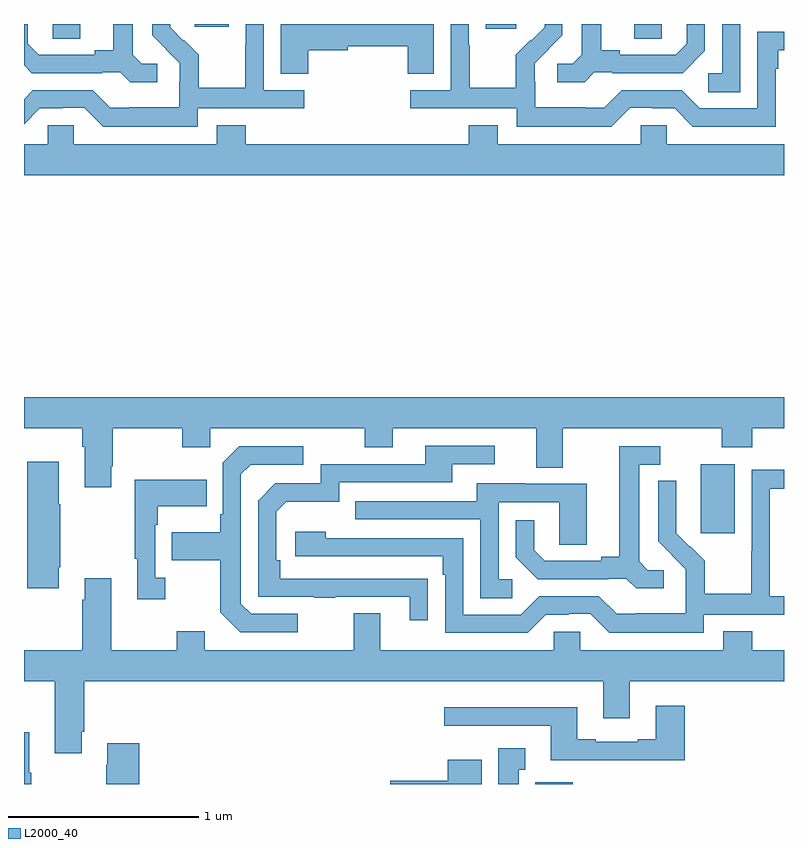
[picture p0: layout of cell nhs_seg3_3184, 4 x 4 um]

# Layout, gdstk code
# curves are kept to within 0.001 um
import gdstk
lib = gdstk.Library(unit=1e-6, precision=1e-09)
def R(c, l, rs):  # rectangles x0, y0, x1, y1
    for r in rs: c.add(gdstk.rectangle(r[:2], r[2:], *l))
def P(c, l, *ps):  # polygons
    for p in ps: c.add(gdstk.Polygon(p, *l))
L2000_40 = (2000, 40)

nhs_seg3_3184 = lib.new_cell('nhs_seg3_3184')
R(nhs_seg3_3184, L2000_40, [(279.692,676.4,279.889,676.408), (280.562,677.721,280.741,678.082), (277.152,680.323,277.297,680.4), (280.211,680.323,280.356,680.4), (279.431,680.376,279.592,680.4), (277.898,680.385,278.077,680.4)])
P(nhs_seg3_3184, L2000_40, [(277.914,679.956),(278.476,679.956),(278.476,680.052),(278.262,680.052),(278.262,680.4),(278.166,680.4),(278.166,680.288),(278.164,680.288),(278.164,680.065),(277.919,680.065),(277.919,680.239),(277.842,680.316),(277.839,680.313),(277.769,680.384),(277.769,680.4),(277.674,680.4),(277.674,680.342),(277.82,680.194),(277.82,680.097),(277.818,680.097),(277.818,679.963),(277.555,679.963),(277.555,679.959),(277.455,679.959),(277.362,680.052),(277.047,680.052),(277,680.005),(277,679.873),(277.083,679.956),(277.202,679.956),(277.202,679.959),(277.317,679.959),(277.417,679.859),(277.914,679.859)],
  [(280.002,680.145),(280.096,680.145),(280.096,680.142),(280.468,680.142),(280.584,680.258),(280.584,680.4),(280.487,680.4),(280.487,680.295),(280.43,680.238),(280.135,680.238),(280.135,680.261),(280.039,680.261),(280.039,680.4),(279.935,680.4),(279.935,680.237),(279.888,680.19),(279.807,680.19),(279.807,680.093),(279.95,680.093)],
  [(280.191,679.959),(280.307,679.959),(280.307,679.956),(280.425,679.956),(280.521,679.86),(280.956,679.86),(280.956,680.165),(280.969,680.165),(280.969,680.262),(281,680.262),(281,680.358),(280.86,680.358),(280.86,679.956),(280.557,679.956),(280.461,680.052),(280.146,680.052),(280.053,679.959),(279.953,679.959),(279.953,679.963),(279.69,679.963),(279.69,680.097),(279.688,680.097),(279.688,680.194),(279.834,680.342),(279.834,680.4),(279.74,680.4),(279.74,680.384),(279.669,680.313),(279.666,680.316),(279.589,680.239),(279.589,680.065),(279.345,680.065),(279.345,680.288),(279.342,680.288),(279.342,680.4),(279.246,680.4),(279.246,680.052),(279.033,680.052),(279.033,679.956),(279.594,679.956),(279.594,679.859),(280.091,679.859)],
  [(277.702,680.19),(277.62,680.19),(277.573,680.237),(277.573,680.4),(277.469,680.4),(277.469,680.261),(277.373,680.261),(277.373,680.238),(277.078,680.238),(277.021,680.295),(277.021,680.4),(277,680.4),(277,680.182),(277.04,680.142),(277.412,680.142),(277.412,680.145),(277.506,680.145),(277.558,680.093),(277.702,680.093)],
  [(280.77,680.4),(280.674,680.4),(280.674,680.142),(280.602,680.142),(280.602,680.041),(280.77,680.041)],
  [(278.495,680.261),(278.704,680.261),(278.704,680.284),(279.019,680.284),(279.019,680.137),(279.157,680.137),(279.157,680.4),(278.351,680.4),(278.351,680.137),(278.495,680.137)],
  [(281,679.768),(280.383,679.768),(280.383,679.866),(280.245,679.866),(280.245,679.768),(279.493,679.768),(279.493,679.867),(279.341,679.867),(279.341,679.768),(278.168,679.768),(278.168,679.867),(278.015,679.867),(278.015,679.768),(277.263,679.768),(277.263,679.866),(277.125,679.866),(277.125,679.768),(277,679.768),(277,679.604),(281,679.604)],
  [(277.459,678.073),(277.467,678.073),(277.467,678.272),(277.834,678.272),(277.834,678.173),(277.98,678.173),(277.98,678.272),(278.794,678.272),(278.794,678.173),(278.941,678.173),(278.941,678.272),(279.695,678.272),(279.695,678.064),(279.835,678.064),(279.835,678.272),(280.672,678.272),(280.672,678.173),(280.832,678.173),(280.832,678.272),(281,678.272),(281,678.436),(277,678.436),(277,678.272),(277.307,678.272),(277.307,678.176),(277.319,678.176),(277.319,677.961),(277.459,677.961)],
  [(279.125,677.48),(278.348,677.481),(278.348,677.578),(278.328,677.578),(278.328,677.832),(278.381,677.885),(278.658,677.885),(278.658,677.988),(279.253,677.988),(279.253,678.084),(279.478,678.084),(279.478,678.18),(279.113,678.18),(279.113,678.084),(278.562,678.084),(278.562,677.982),(278.322,677.982),(278.232,677.892),(278.232,677.385),(278.527,677.385),(278.527,677.38),(278.639,677.38),(278.639,677.385),(279.029,677.385),(279.029,677.262),(279.125,677.262)],
  [(280.366,677.526),(280.284,677.526),(280.237,677.573),(280.237,678.081),(280.348,678.081),(280.348,678.177),(280.133,678.177),(280.133,677.597),(280.037,677.597),(280.037,677.574),(279.742,677.574),(279.685,677.631),(279.685,677.788),(279.588,677.788),(279.588,677.594),(279.704,677.478),(280.076,677.478),(280.076,677.481),(280.17,677.481),(280.222,677.429),(280.366,677.429)],
  [(278.44,677.295),(278.196,677.295),(278.142,677.349),(278.142,678.03),(278.193,678.081),(278.47,678.081),(278.47,678.177),(278.133,678.177),(278.046,678.09),(278.046,677.821),(278.034,677.821),(278.034,677.725),(277.777,677.725),(277.777,677.578),(278.034,677.578),(278.034,677.305),(278.139,677.199),(278.44,677.199)],
  [(277.183,677.542),(277.191,677.542),(277.191,677.873),(277.183,677.873),(277.183,678.097),(277.016,678.097),(277.016,677.43),(277.183,677.43)],
  [(280.578,677.292),(281,677.292),(281,677.388),(280.926,677.388),(280.926,677.955),(281,677.955),(281,678.054),(280.83,678.054),(280.83,677.624),(280.828,677.624),(280.828,677.401),(280.583,677.401),(280.583,677.575),(280.506,677.652),(280.503,677.649),(280.433,677.72),(280.434,677.996),(280.338,677.996),(280.338,677.678),(280.484,677.53),(280.484,677.433),(280.482,677.433),(280.482,677.299),(280.219,677.299),(280.219,677.295),(280.119,677.295),(280.026,677.388),(279.711,677.388),(279.615,677.292),(279.312,677.292),(279.312,677.694),(278.588,677.694),(278.588,677.728),(278.427,677.728),(278.427,677.598),(279.203,677.598),(279.203,677.501),(279.216,677.501),(279.216,677.196),(279.651,677.196),(279.747,677.292),(279.866,677.292),(279.866,677.295),(279.981,677.295),(280.081,677.195),(280.578,677.195)],
  [(277.744,677.486),(277.692,677.486),(277.692,677.765),(277.705,677.765),(277.705,677.861),(277.961,677.861),(277.961,678.001),(277.584,678.001),(277.584,677.585),(277.595,677.585),(277.595,677.373),(277.744,677.373)],
  [(279.571,677.478),(279.498,677.478),(279.498,677.883),(279.816,677.883),(279.816,677.659),(279.961,677.659),(279.961,677.979),(279.637,677.979),(279.637,677.983),(279.383,677.983),(279.383,677.889),(278.743,677.889),(278.743,677.793),(279.402,677.793),(279.402,677.377),(279.571,677.377)],
  [(277.303,676.675),(277.316,676.675),(277.316,676.94),(280.049,676.94),(280.049,676.746),(280.189,676.746),(280.189,676.94),(281,676.94),(281,677.104),(280.832,677.104),(280.832,677.203),(280.679,677.203),(280.679,677.104),(279.927,677.104),(279.927,677.202),(279.789,677.202),(279.789,677.104),(278.875,677.104),(278.875,677.299),(278.735,677.299),(278.735,677.104),(277.951,677.104),(277.951,677.203),(277.804,677.203),(277.804,677.104),(277.459,677.104),(277.459,677.482),(277.319,677.482),(277.319,677.369),(277.307,677.369),(277.307,677.104),(277,677.104),(277,676.94),(277.163,676.94),(277.163,676.563),(277.303,676.563)],
  [(280.478,676.813),(280.325,676.813),(280.325,676.636),(280.229,676.636),(280.229,676.623),(280.009,676.623),(280.009,676.636),(279.913,676.636),(279.913,676.804),(279.213,676.804),(279.213,676.707),(279.773,676.707),(279.773,676.526),(280.478,676.526)],
  [(277.039,676.459),(277.027,676.459),(277.027,676.672),(277,676.672),(277,676.4),(277.039,676.4)],
  [(277.607,676.615),(277.439,676.615),(277.439,676.502),(277.432,676.502),(277.432,676.4),(277.607,676.4)],
  [(279.604,676.475),(279.637,676.475),(279.637,676.588),(279.497,676.588),(279.497,676.4),(279.604,676.4)],
  [(279.409,676.528),(279.23,676.528),(279.23,676.418),(278.927,676.418),(278.927,676.4),(279.409,676.4)])

lib.write_gds('nhs_seg3_3184.gds')
